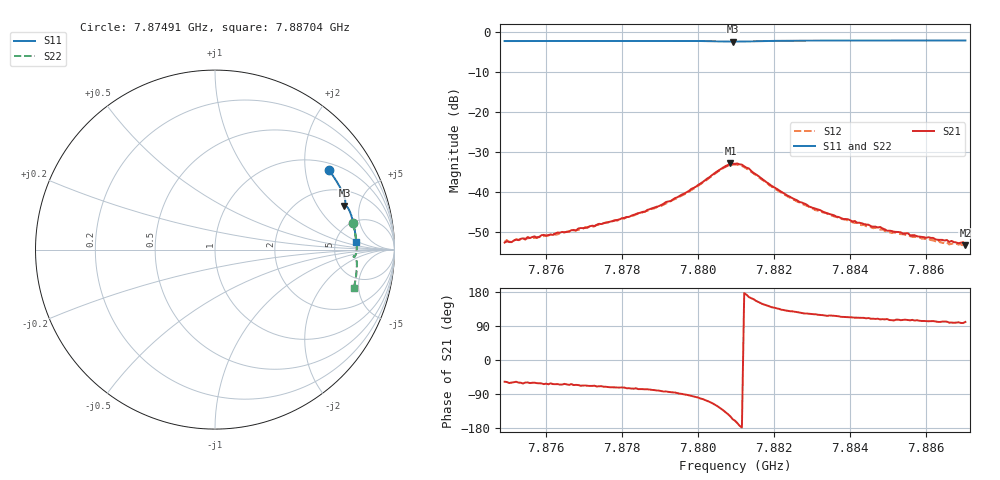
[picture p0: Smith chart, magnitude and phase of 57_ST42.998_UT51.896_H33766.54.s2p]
#  HZ  S  DB  R  50.00
! Rohde & Schwarz Vector Network Analyzer
! Rohde-Schwarz,ZNB20-2Port,1311601062101988,3.16
! Created: UTC 1/12/2023, 6:33:23 PM
! freq[Hz]  db:S11  ang:S11  db:S21  ang:S21  db:S12  ang:S12  db:S22  ang:S22
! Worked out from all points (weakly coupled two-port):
!   201 points, 7.87491 GHz to 7.88704 GHz, reference 50 ohm
!   highest |S21| = -32.93 dB at 7.88085 GHz (marker M1); lowest = -53.4 dB at 7.88704 GHz (marker M2)
!   lowest |S11| = -2.4 dB at 7.88091 GHz (marker M3), VSWR 7.39, Z = 152 + j178 ohm
!   |S11| at or under -10 dB: nowhere
!   |S22| runs from -2.2 to -1.9 dB; largest |S21 - S12| = 0.0017
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7.87491e9  -2.22 34.8  -52.77 -57.3  -52.56 -61.8  -2.14 10.8
7.876972e9  -2.19 29.2  -49.14 -67.6  -49.31 -70.6  -2.09 5.9
7.878186e9  -2.18 25.8  -46.32 -74.3  -46.29 -77.5  -2.06 3.0
7.878974e9  -2.18 23.6  -43.63 -80.8  -43.64 -84.2  -2.05 1.2
7.879641e9  -2.19 21.7  -40.47 -91.0  -40.67 -94.4  -2.05 -0.5
7.880672e9  -2.32 19.0  -33.90 -133.3  -34.05 -136.5  -2.19 -2.8
7.880854e9  -2.36 18.8  -32.93 -148.9  -33.32 -152.3  -2.24 -2.9
7.880915e9  -2.37 18.8  -32.97 -156.2  -33.22 -158.1  -2.24 -2.8
7.880976e9  -2.37 18.8  -33.03 -160.2  -33.16 -163.9  -2.24 -2.9
7.88134e9  -2.29 18.5  -34.17 166.1  -34.58 164.6  -2.17 -2.9
7.88231e9  -2.16 15.9  -40.72 130.7  -40.89 128.1  -2.01 -5.1
7.883038e9  -2.13 13.8  -44.10 120.9  -44.31 117.3  -1.98 -6.8
7.883826e9  -2.11 11.7  -46.85 113.8  -46.95 110.4  -1.96 -8.6
7.885039e9  -2.09 8.5  -49.79 105.4  -50.19 102.7  -1.94 -11.4
7.886252e9  -2.08 5.3  -51.97 101.9  -52.45 98.7  -1.92 -14.0
7.886313e9  -2.08 5.1  -52.08 100.6  -52.01 99.1  -1.92 -14.1
7.886374e9  -2.08 5.0  -52.09 100.4  -52.69 97.6  -1.92 -14.2
7.886556e9  -2.08 4.5  -52.13 101.1  -52.71 96.2  -1.92 -14.6
7.886616e9  -2.08 4.4  -52.62 98.6  -53.25 97.8  -1.93 -14.8
7.886798e9  -2.08 3.9  -52.75 98.7  -53.02 96.6  -1.92 -15.2
7.88698e9  -2.07 3.4  -52.68 97.6  -53.56 97.6  -1.92 -15.5
7.887041e9  -2.07 3.2  -53.40 100.4  -53.68 96.9  -1.92 -15.7
